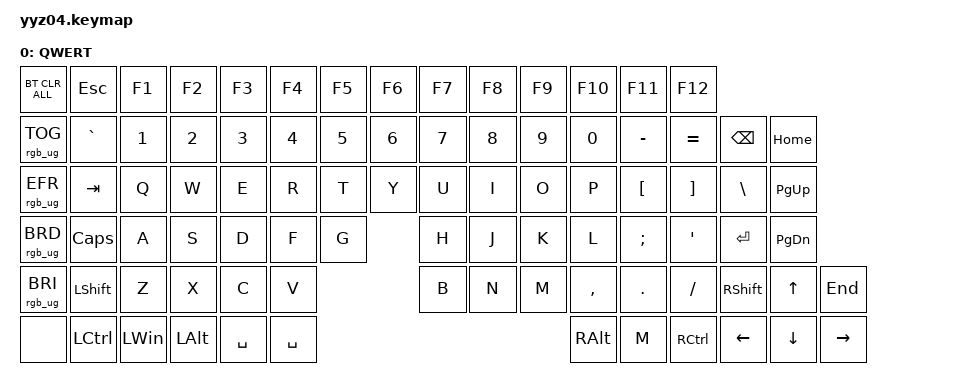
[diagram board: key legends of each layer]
#include <behaviors.dtsi>
#include <dt-bindings/zmk/bt.h>
#include <dt-bindings/zmk/keys.h>
#include <dt-bindings/zmk/outputs.h>
#include <dt-binding/zmk/rgb.h>
/ {
    keymap {
        compatible = "zmk,keymap";

        LAYER0 {
            bindings = <
 &bt BT_CLR_ALL   &kp ESC       &kp F1    &kp F2       &kp F3       &kp F4    &kp F5  &kp F6     &kp F7     &kp F8     &kp F9  &kp F10     &kp F11    &kp F12 
 &rgb_ug RGB_TOG  &kp GRAVE     &kp N1    &kp N2       &kp N3       &kp N4    &kp N5  &kp N6     &kp N7     &kp N8     &kp N9  &kp N0      &kp MINUS  &kp EQUAL  &kp BSPC               &kp HOME                         
 &rgb_ug RGB_EFR  &kp TAB       &kp Q     &kp W        &kp E        &kp R     &kp T              &kp Y      &kp U      &kp I   &kp O       &kp P      &kp LBKT   &kp RBKT    &kp BSLH   &kp PG_UP 
 &rgb_ug RGB_BRD  &kp CAPSLOCK  &kp A     &kp S        &kp D        &kp F     &kp G              &kp H      &kp J      &kp K   &kp L       &kp SEMI   &kp SQT    &kp ENTER              &kp PG_DN
 &rgb_ug RGB_BRI  &kp LSHFT     &kp Z     &kp X        &kp C        &kp V                        &kp B      &kp N      &kp M   &kp COMMA   &kp DOT    &kp FSLH   &kp RSHFT   &kp UP     &kp END 
 &none            &kp LCTRL     &kp LWIN   &kp LALT    &kp SPACE                                 &kp SPACE                      &kp RALT   &kp M      &kp RCTRL  &kp LEFT    &kp DOWN   &kp RIGHT    
                >;

            display-name = "QWERT";
        };
    };
};
